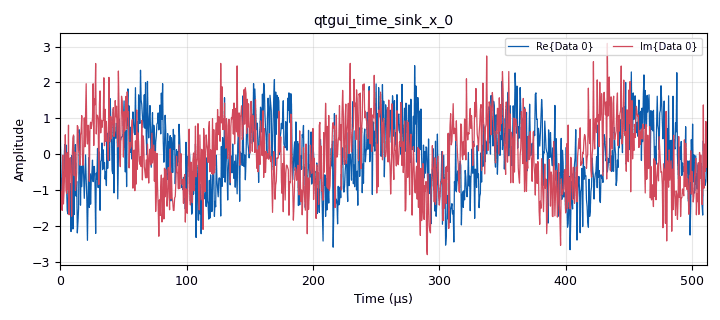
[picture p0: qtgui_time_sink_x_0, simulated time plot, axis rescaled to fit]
options:
  parameters:
    author: loki
    generate_options: qt_gui
    id: Jamming_car
    output_language: python
    title: Jamming
  states: {}

blocks:
- name: samp_rate
  id: variable
  parameters:
    value: 2e6
  states: {}
- name: variable_qtgui_range_0
  id: variable_qtgui_range
  parameters:
    start: '1000'
    step: '1'
    stop: '10000'
    value: '5000'
  states: {}
- name: analog_fastnoise_source_x_0
  id: analog_fastnoise_source_x
  parameters:
    amp: '1'
    noise_type: analog.GR_GAUSSIAN
    samples: '8192'
    seed: '0'
    type: complex
  states: {}
- name: analog_sig_source_x_0
  id: analog_sig_source_x
  parameters:
    amp: '1'
    freq: 433.99e6
    offset: '0'
    phase: '0'
    samp_rate: samp_rate
    type: complex
    waveform: analog.GR_COS_WAVE
  states: {}
- name: blocks_add_xx_0
  id: blocks_add_xx
  parameters:
    type: complex
  states: {}
- name: blocks_throttle_0
  id: blocks_throttle
  parameters:
    samples_per_second: samp_rate
    type: complex
  states: {}
- name: qtgui_time_sink_x_0
  id: qtgui_time_sink_x
  parameters:
    size: '1024'
    srate: samp_rate
    type: complex
  states: {}

connections:
- [analog_fastnoise_source_x_0, '0', blocks_add_xx_0, '1']
- [analog_sig_source_x_0, '0', blocks_throttle_0, '0']
- [blocks_add_xx_0, '0', qtgui_time_sink_x_0, '0']
- [blocks_throttle_0, '0', blocks_add_xx_0, '0']

metadata:
  file_format: 1
  grc_version: 3.10.2.0
